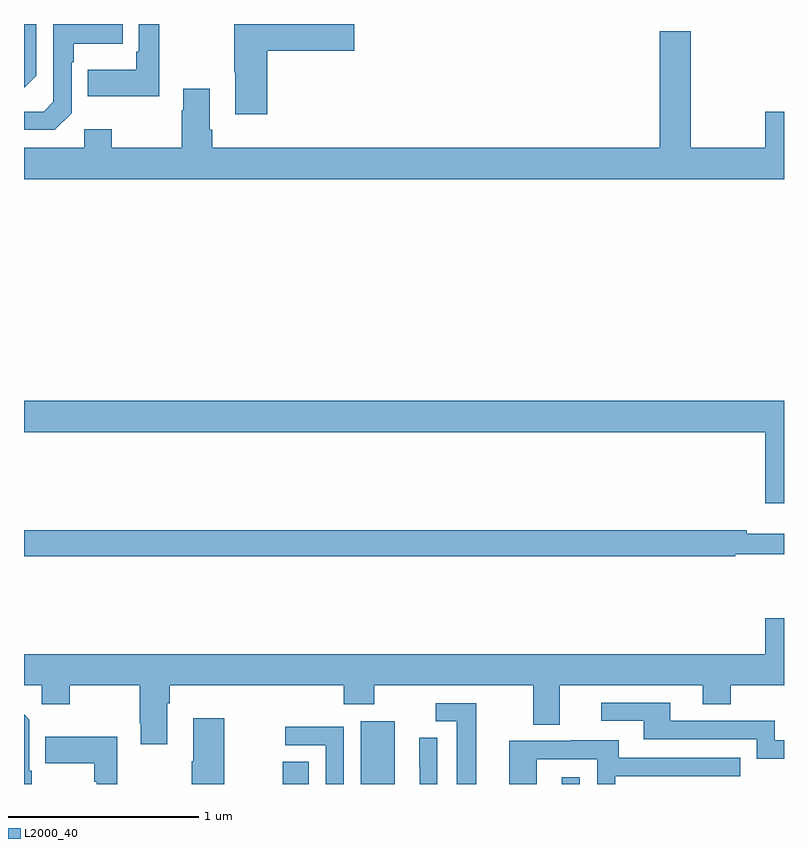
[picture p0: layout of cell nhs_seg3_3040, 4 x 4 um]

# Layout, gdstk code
import gdstk
lib = gdstk.Library(unit=1e-6, precision=1e-09)
def R(c, l, rs):  # rectangles x0, y0, x1, y1
    for r in rs: c.add(gdstk.rectangle(r[:2], r[2:], *l))
def P(c, l, *ps):  # polygons
    for p in ps: c.add(gdstk.Polygon(p, *l))
L2000_40 = (2000, 40)

nhs_seg3_3040 = lib.new_cell('nhs_seg3_3040')
R(nhs_seg3_3040, L2000_40, [(270.361,696.4,270.499,696.518), (270.773,696.4,270.952,696.73), (271.829,696.4,271.926,696.436)])
P(nhs_seg3_3040, L2000_40, [(270.281,700.259),(270.739,700.259),(270.739,700.4),(270.106,700.4),(270.106,700.147),(270.113,700.147),(270.113,699.924),(270.281,699.924)],
  [(269.064,700.128),(269.064,700.4),(269,700.4),(269,700.064)],
  [(269.713,700.4),(269.604,700.4),(269.604,700.255),(269.592,700.255),(269.592,700.159),(269.335,700.159),(269.335,700.019),(269.713,700.019)],
  [(269.25,699.93),(269.25,700.199),(269.263,700.199),(269.263,700.295),(269.519,700.295),(269.519,700.4),(269.154,700.4),(269.154,699.99),(269.103,699.939),(269,699.939),(269,699.843),(269.163,699.843)],
  [(273,699.937),(272.9,699.937),(272.9,699.748),(272.509,699.748),(272.509,700.363),(272.345,700.363),(272.345,699.748),(269.99,699.748),(269.99,699.844),(269.977,699.844),(269.977,700.06),(269.837,700.06),(269.837,699.947),(269.83,699.947),(269.83,699.748),(269.463,699.748),(269.463,699.847),(269.316,699.847),(269.316,699.748),(269,699.748),(269,699.584),(273,699.584)],
  [(273,698.416),(269,698.416),(269,698.252),(272.9,698.252),(272.9,697.878),(273,697.878)],
  [(272.744,697.608),(273,697.608),(273,697.717),(272.804,697.717),(272.804,697.736),(269,697.736),(269,697.6),(272.744,697.6)],
  [(269,696.92),(269.094,696.92),(269.094,696.821),(269.241,696.821),(269.241,696.92),(269.608,696.92),(269.608,696.721),(269.615,696.721),(269.615,696.609),(269.755,696.609),(269.755,696.824),(269.768,696.824),(269.768,696.92),(270.683,696.92),(270.683,696.821),(270.843,696.821),(270.843,696.92),(271.679,696.92),(271.679,696.712),(271.819,696.712),(271.819,696.92),(272.573,696.92),(272.573,696.821),(272.721,696.821),(272.721,696.92),(273,696.92),(273,697.273),(272.9,697.273),(272.9,697.084),(269,697.084)],
  [(273,696.63),(272.952,696.63),(272.952,696.732),(272.401,696.732),(272.401,696.828),(272.037,696.828),(272.037,696.732),(272.261,696.732),(272.261,696.636),(272.856,696.636),(272.856,696.533),(273,696.533)],
  [(271.381,696.825),(271.167,696.825),(271.167,696.729),(271.277,696.729),(271.277,696.4),(271.381,696.4)],
  [(269.041,696.469),(269.028,696.469),(269.028,696.738),(269,696.766),(269,696.4),(269.041,696.4)],
  [(270.054,696.745),(269.891,696.745),(269.891,696.521),(269.884,696.521),(269.884,696.4),(270.054,696.4)],
  [(270.684,696.702),(270.375,696.702),(270.375,696.603),(270.588,696.603),(270.588,696.4),(270.684,696.4)],
  [(269.491,696.649),(269.113,696.649),(269.113,696.509),(269.37,696.509),(269.37,696.413),(269.382,696.413),(269.382,696.4),(269.491,696.4)],
  [(271.176,696.644),(271.08,696.644),(271.08,696.49),(271.082,696.49),(271.082,696.4),(271.176,696.4)],
  [(271.698,696.531),(272.016,696.531),(272.016,696.4),(272.112,696.4),(272.112,696.441),(272.771,696.441),(272.771,696.537),(272.131,696.537),(272.131,696.631),(271.877,696.631),(271.877,696.627),(271.553,696.627),(271.553,696.4),(271.698,696.4)])

lib.write_gds('nhs_seg3_3040.gds')
